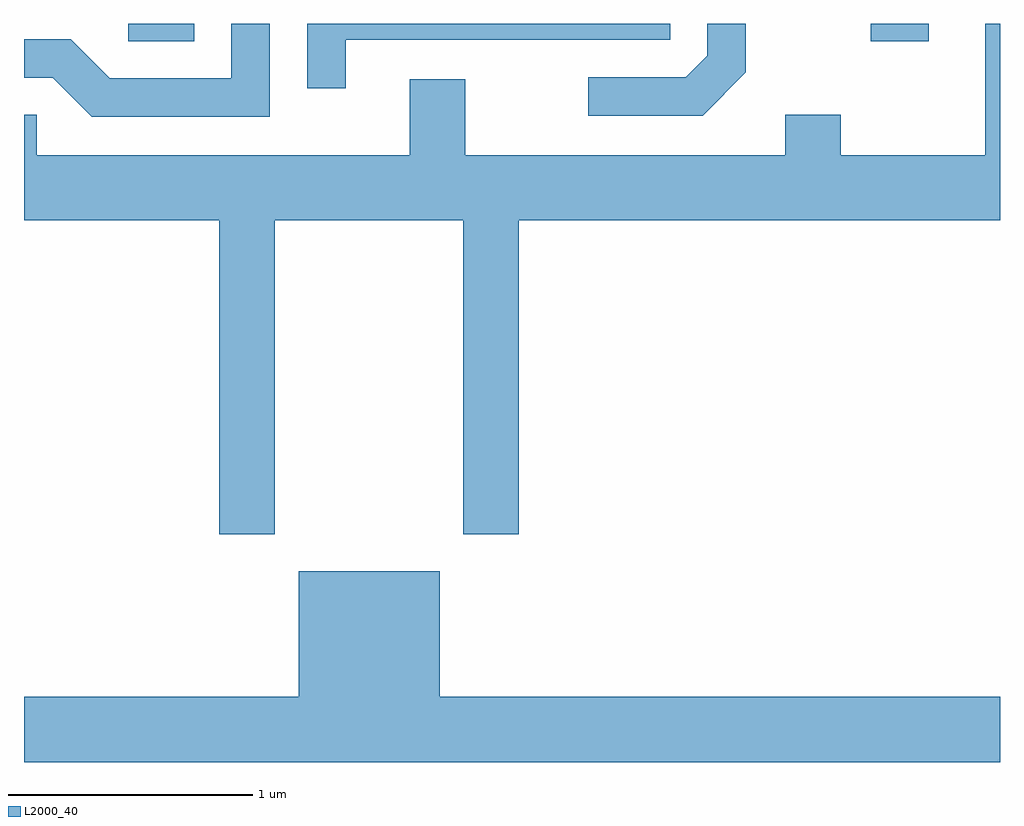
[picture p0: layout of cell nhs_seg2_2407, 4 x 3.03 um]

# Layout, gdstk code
import gdstk
lib = gdstk.Library(unit=1e-6, precision=1e-09)
def R(c, l, rs):  # rectangles x0, y0, x1, y1
    for r in rs: c.add(gdstk.rectangle(r[:2], r[2:], *l))
def P(c, l, *ps):  # polygons
    for p in ps: c.add(gdstk.Polygon(p, *l))
L2000_40 = (2000, 40)

nhs_seg2_2407 = lib.new_cell('nhs_seg2_2407')
R(nhs_seg2_2407, L2000_40, [(256.038,1035.731,256.309,1035.802), (259.082,1035.731,259.319,1035.802)])
P(nhs_seg2_2407, L2000_40, [(257.639,1034.996),(259.611,1034.996),(259.611,1035.802),(259.551,1035.802),(259.551,1035.264),(258.959,1035.264),(258.959,1035.429),(258.731,1035.429),(258.731,1035.264),(257.419,1035.264),(257.419,1035.574),(257.191,1035.574),(257.191,1035.264),(255.664,1035.264),(255.664,1035.429),(255.611,1035.429),(255.611,1034.996),(256.411,1034.996),(256.411,1033.711),(256.639,1033.711),(256.639,1034.996),(257.411,1034.996),(257.411,1033.711),(257.639,1033.711)],
  [(258.569,1035.603),(258.569,1035.802),(258.411,1035.802),(258.411,1035.671),(258.324,1035.584),(257.923,1035.584),(257.923,1035.426),(258.392,1035.426)],
  [(256.619,1035.802),(256.461,1035.802),(256.461,1035.579),(255.962,1035.579),(255.802,1035.739),(255.611,1035.739),(255.611,1035.581),(255.729,1035.581),(255.889,1035.421),(256.619,1035.421)],
  [(256.929,1035.736),(258.259,1035.736),(258.259,1035.802),(256.771,1035.802),(256.771,1035.537),(256.929,1035.537)],
  [(259.611,1033.044),(257.314,1033.044),(257.314,1033.559),(256.736,1033.559),(256.736,1033.044),(255.611,1033.044),(255.611,1032.776),(259.611,1032.776)])

lib.write_gds('nhs_seg2_2407.gds')
